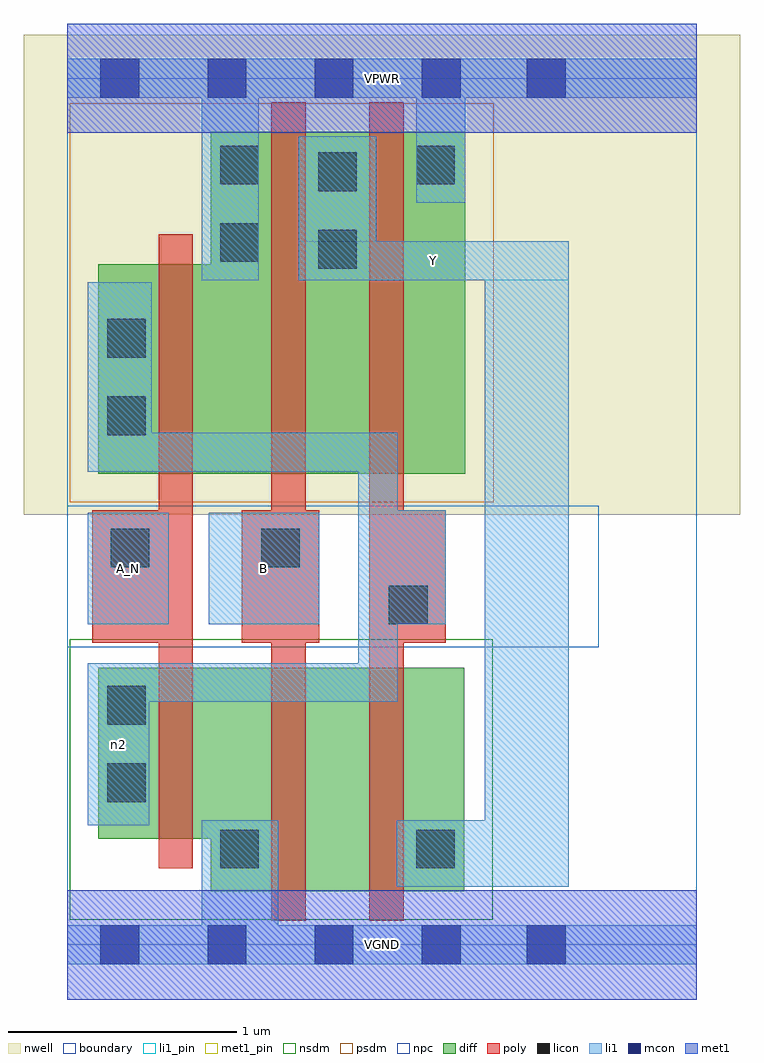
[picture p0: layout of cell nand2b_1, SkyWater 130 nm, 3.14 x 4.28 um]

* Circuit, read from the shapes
.subckt nand2b_1 A_N B VGND VPWR Y n2
XM1 VGND A_N n2 VSUBS sky130_fd_pr__nfet_01v8 w=0.75 l=0.15
XM2 n1 B VGND VSUBS sky130_fd_pr__nfet_01v8 w=0.98 l=0.15
XM3 Y n2 n1 VSUBS sky130_fd_pr__nfet_01v8 w=0.98 l=0.15
XM4 VPWR A_N n2 n3 sky130_fd_pr__pfet_01v8 w=0.92 l=0.15
XM5 Y B VPWR n3 sky130_fd_pr__pfet_01v8 w=1.5 l=0.15
XM6 VPWR n2 Y n3 sky130_fd_pr__pfet_01v8 w=1.5 l=0.15
.ends

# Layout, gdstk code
import gdstk
lib = gdstk.Library(unit=1e-6, precision=1e-09)
def R(c, l, rs):  # rectangles x0, y0, x1, y1
    for r in rs: c.add(gdstk.rectangle(r[:2], r[2:], *l))
def A(c, l, x, y, w, h, nx, ny, dx, dy):  # array of equal rectangles
    R(c, l, [(x+i*dx, y+j*dy, x+i*dx+w, y+j*dy+h) for i in range(nx) for j in range(ny)])
nwell = (64, 20)
diff = (65, 20)
poly = (66, 20)
licon = (66, 44)
li1_pin = (67, 16)
li1 = (67, 20)
mcon = (67, 44)
met1_pin = (68, 16)
met1 = (68, 20)
nsdm = (93, 44)
psdm = (94, 20)
npc = (95, 20)
boundary = (235, 4)

nand2b_1 = lib.new_cell('nand2b_1')
R(nand2b_1, nwell, [(-0.19,1.885,2.95,3.99), (0,1.885,2.76,3.99)])
R(nand2b_1, diff, [(0.63,0.235,1.74,1.215), (0.135,0.465,1.74,1.215), (0.135,2.065,1.745,2.985), (0.63,2.065,1.745,3.565)])
R(nand2b_1, poly, [(0.895,0.105,1.045,3.695), (1.325,0.105,1.475,3.695), (0.4,0.335,0.55,3.115), (0.11,1.325,0.55,1.905), (0.765,1.325,1.105,1.905), (1.325,1.325,1.66,1.905)])
R(nand2b_1, licon, [(0.67,0.335,0.84,0.505), (1.53,0.335,1.7,0.505), (0.175,0.625,0.345,0.795), (0.175,0.965,0.345,1.135), (1.41,1.405,1.58,1.575), (0.19,1.655,0.36,1.825), (0.85,1.655,1.02,1.825), (0.175,2.235,0.345,2.405), (0.175,2.575,0.345,2.745), (1.1,2.965,1.27,3.135), (0.67,2.995,0.84,3.165), (1.1,3.305,1.27,3.475), (0.67,3.335,0.84,3.505), (1.53,3.335,1.7,3.505)])
R(nand2b_1, li1_pin, [(0.09,1.405,0.445,1.895), (0.62,1.405,1.105,1.895), (1.015,2.915,2.2,3.085)])
R(nand2b_1, li1, [(0,-0.085,2.76,0.085), (0.59,-0.085,0.925,0.545), (1.445,0.255,2.2,0.545), (1.83,0.255,2.2,3.085), (0.09,0.525,0.36,1.235), (0.09,1.065,1.45,1.235), (1.275,1.065,1.45,2.245), (0.09,1.405,0.445,1.895), (0.62,1.405,1.105,1.895), (1.275,1.405,1.66,1.905), (0.09,2.075,1.45,2.245), (0.09,2.075,0.37,2.905), (0.59,2.915,0.84,3.885), (1.015,2.915,1.355,3.545), (1.015,2.915,2.2,3.085), (1.53,3.255,1.745,3.885), (0,3.715,2.76,3.885)])
A(nand2b_1, mcon, 0.145, -0.085, 0.17, 0.17, 4, 2, 0.47, 3.8)
R(nand2b_1, mcon, [(2.015,-0.085,2.185,0.085), (2.015,3.715,2.185,3.885)])
R(nand2b_1, met1_pin, [(0,-0.24,2.76,0.24), (0,3.56,2.76,4.04)])
R(nand2b_1, met1, [(0,-0.24,2.76,0.24), (0,3.56,2.76,4.04)])
R(nand2b_1, nsdm, [(0.01,0.11,1.865,1.34)])
R(nand2b_1, psdm, [(0.01,1.94,1.87,3.69)])
R(nand2b_1, npc, [(0,1.305,2.33,1.925)])
R(nand2b_1, boundary, [(0,0,2.76,3.8)])
nand2b_1.add(gdstk.Label('A_N', (0.267,1.65), layer=67, texttype=5))
nand2b_1.add(gdstk.Label('B', (0.862,1.65), layer=67, texttype=5))
nand2b_1.add(gdstk.Label('Y', (1.607,3), layer=67, texttype=5))
nand2b_1.add(gdstk.Label('n2', (0.225,0.88), layer=67, texttype=5))
nand2b_1.add(gdstk.Label('VPWR', (1.38,3.8), layer=68, texttype=5))
nand2b_1.add(gdstk.Label('VGND', (1.38,0), layer=68, texttype=5))
nand2b_1.add(gdstk.Label('A_N', (0.267,1.65), layer=67, texttype=16))
nand2b_1.add(gdstk.Label('B', (0.862,1.65), layer=67, texttype=16))
nand2b_1.add(gdstk.Label('Y', (1.607,3), layer=67, texttype=16))
nand2b_1.add(gdstk.Label('VPWR', (1.38,3.8), layer=68, texttype=16))
nand2b_1.add(gdstk.Label('VGND', (1.38,0), layer=68, texttype=16))

lib.write_gds('nand2b_1.gds')
